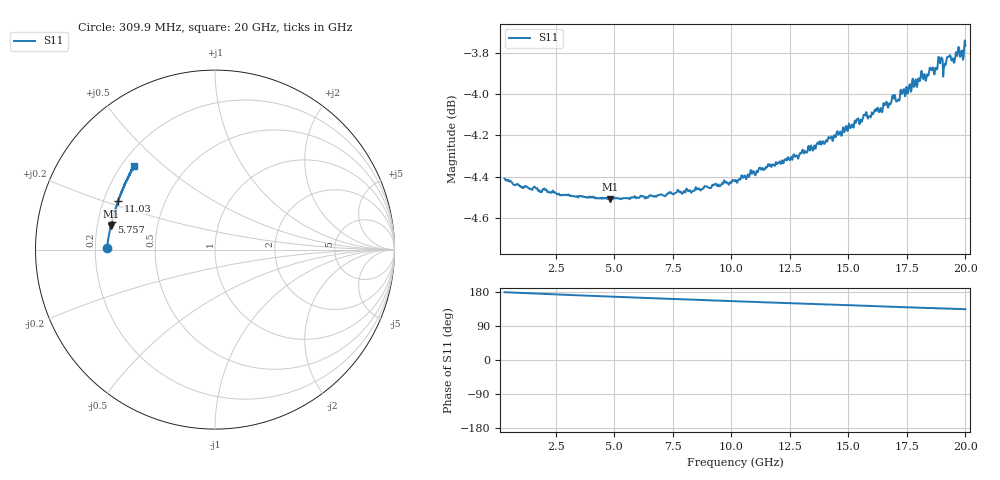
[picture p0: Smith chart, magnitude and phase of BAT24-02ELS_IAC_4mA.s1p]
! Infineon Technologies  Discrete & RF Semiconductors
! BAT24-02ELS
! IAC = 4 mA
! One-Port S-Parameters
# Hz  S  MA  R  50
!f  S11
!Hz  Mag  Ang
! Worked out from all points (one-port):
!   789 points, 309.9 MHz to 20 GHz, reference 50 ohm
!   lowest |S11| = -4.5 dB at 4.808 GHz (marker M1), VSWR 3.94, Z = 12.8 + j5.16 ohm
!   |S11| at or under -10 dB: nowhere
!   S11 on the Smith chart (normalised r, x): 309.9 MHz: 0.25, +0.01; 5.757 GHz: 0.26, +0.12; 11.03 GHz: 0.26, +0.22; 20 GHz: 0.25, +0.40
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3.0985e8  0.6018 178.9
2.783612e9  0.5965 172.5
4.8076e9  0.595 167.4
5.232388e9  0.5951 166.4
5.757125e9  0.5955 165.2
7.70615e9  0.598 160.7
1.015492e10  0.601 155.1
1.102949e10  0.603 153.1
1.262869e10  0.609 149.6
1.507746e10  0.6191 144.6
1.677661e10  0.6273 140.7
1.695152e10  0.6294 140.5
1.715142e10  0.6291 139.8
1.755122e10  0.6313 139.0
1.82009e10  0.6363 137.7
1.837581e10  0.638 137.2
1.855072e10  0.6395 137.1
1.875062e10  0.6404 136.6
1.895052e10  0.6435 136.3
1.912544e10  0.6418 135.9
1.925038e10  0.6443 135.5
1.937531e10  0.6443 135.6
1.950025e10  0.6423 135.2
1.962519e10  0.6457 134.9
1.967516e10  0.6459 134.6
1.982509e10  0.6461 134.4
1.987506e10  0.6447 134.6
2e10  0.6483 134.3
